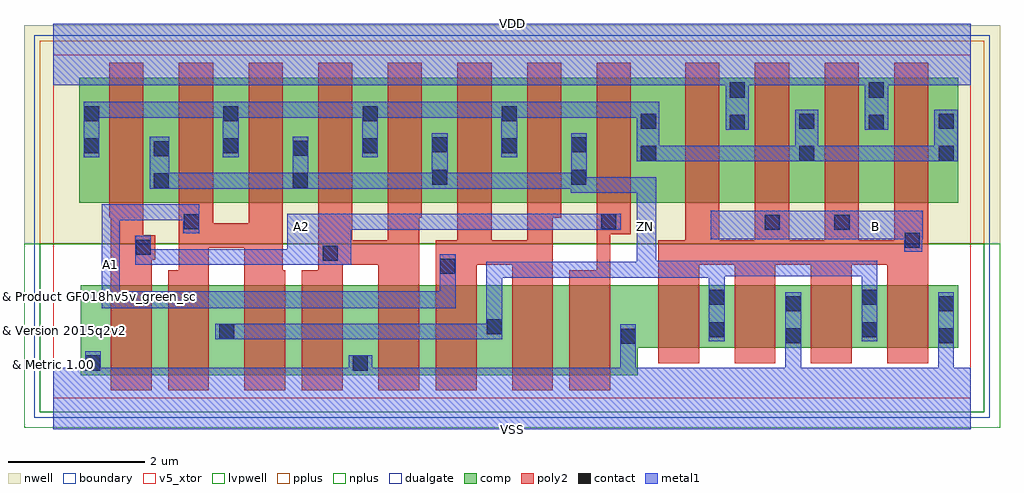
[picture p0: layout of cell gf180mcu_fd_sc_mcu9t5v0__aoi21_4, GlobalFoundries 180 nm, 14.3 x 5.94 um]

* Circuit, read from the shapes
.subckt gf180mcu_fd_sc_mcu9t5v0__aoi21_4 A1 A2 B VDD VSS ZN
XM1 n1 A2 VSS VSUBS nfet_05v0 w=1.32u l=0.6u
XM2 ZN A1 n1 VSUBS nfet_05v0 w=1.32u l=0.6u
XM3 n2 A1 ZN VSUBS nfet_05v0 w=1.32u l=0.6u
XM4 VSS A2 n2 VSUBS nfet_05v0 w=1.32u l=0.6u
XM5 n3 A2 VSS VSUBS nfet_05v0 w=1.32u l=0.6u
XM6 ZN A1 n3 VSUBS nfet_05v0 w=1.32u l=0.6u
XM7 n4 A1 ZN VSUBS nfet_05v0 w=1.32u l=0.6u
XM8 VSS A2 n4 VSUBS nfet_05v0 w=1.32u l=0.6u
XM9 ZN B VSS VSUBS nfet_05v0 w=0.92u l=0.6u m=4
XM10 ZN A2 n5 n6 pfet_05v0 w=1.83u l=0.5u m=4
XM11 n5 A1 ZN n6 pfet_05v0 w=1.83u l=0.5u m=4
XM12 VDD B n5 n6 pfet_05v0 w=1.83u l=0.5u m=4
.ends

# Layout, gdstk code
import gdstk
lib = gdstk.Library(unit=1e-6, precision=1e-09)
def R(c, l, rs):  # rectangles x0, y0, x1, y1
    for r in rs: c.add(gdstk.rectangle(r[:2], r[2:], *l))
def A(c, l, x, y, w, h, nx, ny, dx, dy):  # array of equal rectangles
    R(c, l, [(x+i*dx, y+j*dy, x+i*dx+w, y+j*dy+h) for i in range(nx) for j in range(ny)])
def P(c, l, *ps):  # polygons
    for p in ps: c.add(gdstk.Polygon(p, *l))
boundary = (0, 0)
nwell = (21, 0)
comp = (22, 0)
poly2 = (30, 0)
pplus = (31, 0)
nplus = (32, 0)
contact = (33, 0)
metal1 = (34, 0)
dualgate = (55, 0)
v5_xtor = (112, 1)
lvpwell = (204, 0)

gf180mcu_fd_sc_mcu9t5v0_ = lib.new_cell('gf180mcu_fd_sc_mcu9t5v0__aoi21_4')
R(gf180mcu_fd_sc_mcu9t5v0_, boundary, [(0,0,13.44,5.04)])
R(gf180mcu_fd_sc_mcu9t5v0_, nwell, [(-0.43,2.265,13.87,5.47)])
R(gf180mcu_fd_sc_mcu9t5v0_, comp, [(0.38,2.87,13.26,4.7)])
P(gf180mcu_fd_sc_mcu9t5v0_, comp, [(0.4,0.34),(0.4,1.66),(13.26,1.66),(13.26,0.74),(8.56,0.74),(8.56,0.34)])
P(gf180mcu_fd_sc_mcu9t5v0_, poly2, [(0.84,0.12),(0.84,2.65),(0.82,2.65),(0.82,4.92),(1.32,4.92),(1.32,2.395),(1.495,2.395),(1.495,2.035),(1.44,2.035),(1.44,0.12)],
  [(1.68,0.12),(1.68,1.88),(1.84,1.88),(1.84,4.92),(2.34,4.92),(2.34,2.57),(2.86,2.57),(2.86,4.92),(3.36,4.92),(3.36,1.88),(3.4,1.88),(3.4,0.12),(2.8,0.12),(2.8,2.21),(2.28,2.21),(2.28,0.12)],
  [(3.64,0.12),(3.64,1.88),(3.88,1.88),(3.88,4.92),(4.38,4.92),(4.38,2.32),(4.9,2.32),(4.9,4.92),(5.4,4.92),(5.4,2.65),(5.36,2.65),(5.36,0.12),(4.76,0.12),(4.76,1.96),(4.24,1.96),(4.24,0.12)],
  [(5.6,0.12),(5.6,2.32),(5.92,2.32),(5.92,4.92),(6.42,4.92),(6.42,2.32),(6.94,2.32),(6.94,4.92),(7.44,4.92),(7.44,2.65),(7.32,2.65),(7.32,0.12),(6.72,0.12),(6.72,1.96),(6.2,1.96),(6.2,0.12)],
  [(7.56,0.12),(7.56,1.88),(7.96,1.88),(7.96,4.92),(8.46,4.92),(8.46,2.41),(8.16,2.41),(8.16,0.12)],
  [(8.86,0.52),(8.86,2.32),(9.26,2.32),(9.26,4.92),(9.76,4.92),(9.76,2.32),(10.28,2.32),(10.28,4.92),(10.78,4.92),(10.78,2.32),(11.3,2.32),(11.3,4.92),(11.8,4.92),(11.8,2.32),(12.32,2.32),(12.32,4.92),(12.82,4.92),(12.82,0.52),(12.22,0.52),(12.22,1.96),(11.7,1.96),(11.7,0.52),(11.1,0.52),(11.1,1.96),(10.58,1.96),(10.58,0.52),(9.98,0.52),(9.98,1.96),(9.46,1.96),(9.46,0.52)])
R(gf180mcu_fd_sc_mcu9t5v0_, pplus, [(-0.2,2.265,13.64,5.24)])
R(gf180mcu_fd_sc_mcu9t5v0_, nplus, [(-0.2,-0.2,13.64,2.265)])
A(gf180mcu_fd_sc_mcu9t5v0_, contact, 0.45, 3.595, 0.22, 0.22, 4, 2, 2.04, 0.47)
R(gf180mcu_fd_sc_mcu9t5v0_, contact, [(0.47,0.41,0.69,0.63), (4.39,0.41,4.61,0.63), (8.31,0.805,8.53,1.025), (10.73,0.81,10.95,1.03), (12.97,0.81,13.19,1.03), (2.43,0.87,2.65,1.09), (9.61,0.9,9.83,1.12), (11.85,0.9,12.07,1.12), (6.35,0.94,6.57,1.16), (10.73,1.28,10.95,1.5), (12.97,1.28,13.19,1.5), (9.61,1.37,9.83,1.59), (11.85,1.37,12.07,1.59), (5.67,1.83,5.89,2.05), (3.95,2.02,4.17,2.24), (1.205,2.105,1.425,2.325), (12.475,2.21,12.695,2.43), (10.425,2.47,10.645,2.69), (11.445,2.475,11.665,2.695), (1.91,2.48,2.13,2.7), (8.03,2.48,8.25,2.7), (1.47,3.08,1.69,3.3), (3.51,3.085,3.73,3.305), (5.55,3.135,5.77,3.355), (7.59,3.135,7.81,3.355), (8.61,3.48,8.83,3.7), (10.93,3.48,11.15,3.7), (12.97,3.48,13.19,3.7), (1.47,3.55,1.69,3.77), (3.51,3.555,3.73,3.775), (5.55,3.605,5.77,3.825), (7.59,3.605,7.81,3.825), (9.91,3.94,10.13,4.16), (11.95,3.94,12.17,4.16), (8.61,3.95,8.83,4.17), (10.93,3.95,11.15,4.17), (12.97,3.95,13.19,4.17), (9.91,4.41,10.13,4.63), (11.95,4.41,12.17,4.63)])
P(gf180mcu_fd_sc_mcu9t5v0_, metal1, [(0.71,1.325),(0.71,2.845),(2.135,2.845),(2.135,2.42),(1.905,2.42),(1.905,2.615),(0.97,2.615),(0.97,1.57),(5.665,1.57),(5.665,2.11),(5.895,2.11),(5.895,1.325)],
  [(1.2,1.96),(1.2,2.385),(1.43,2.385),(1.43,2.19),(3.43,2.19),(3.43,2.71),(8.31,2.71),(8.31,2.475),(4.365,2.475),(4.365,1.96)],
  [(9.605,0.84),(9.605,1.77),(6.575,1.77),(6.575,0.865),(2.37,0.865),(2.37,1.095),(6.345,1.095),(6.345,2),(8.55,2),(8.55,3.015),(7.58,3.015),(7.58,3.075),(1.41,3.075),(1.41,3.835),(1.695,3.835),(1.695,3.305),(3.505,3.305),(3.505,3.835),(3.735,3.835),(3.735,3.305),(5.545,3.305),(5.545,3.885),(5.775,3.885),(5.775,3.305),(7.585,3.305),(7.585,3.885),(7.815,3.885),(7.815,3.245),(8.83,3.245),(8.83,2.02),(12.075,2.02),(12.075,0.84),(11.845,0.84),(11.845,1.79),(9.835,1.79),(9.835,0.84)],
  [(12.47,2.15),(12.47,2.33),(9.63,2.33),(9.63,2.75),(12.735,2.75),(12.735,2.33),(12.73,2.33),(12.73,2.15)],
  [(8.55,3.475),(8.55,4.115),(6.795,4.115),(6.795,3.535),(6.565,3.535),(6.565,4.115),(4.755,4.115),(4.755,3.535),(4.525,3.535),(4.525,4.115),(2.715,4.115),(2.715,3.535),(2.485,3.535),(2.485,4.115),(0.675,4.115),(0.675,3.535),(0.445,3.535),(0.445,4.345),(8.88,4.345),(8.88,3.705),(10.87,3.705),(10.87,4.23),(11.21,4.23),(11.21,3.705),(12.91,3.705),(12.91,4.23),(13.25,4.23),(13.25,3.475)],
  [(0,-0.45),(0,0.45),(0.465,0.45),(0.465,0.69),(0.695,0.69),(0.695,0.45),(4.33,0.45),(4.33,0.635),(4.67,0.635),(4.67,0.45),(8.305,0.45),(8.305,1.085),(8.535,1.085),(8.535,0.45),(10.725,0.45),(10.725,1.56),(10.955,1.56),(10.955,0.45),(12.965,0.45),(12.965,1.56),(13.195,1.56),(13.195,0.45),(13.44,0.45),(13.44,-0.45)],
  [(9.85,3.935),(9.85,4.59),(0,4.59),(0,5.49),(13.44,5.49),(13.44,4.59),(12.23,4.59),(12.23,3.935),(11.89,3.935),(11.89,4.59),(10.19,4.59),(10.19,3.935)])
R(gf180mcu_fd_sc_mcu9t5v0_, dualgate, [(-0.28,-0.28,13.72,5.32)])
R(gf180mcu_fd_sc_mcu9t5v0_, v5_xtor, [(0,0,13.44,5.04)])
R(gf180mcu_fd_sc_mcu9t5v0_, lvpwell, [(-0.43,-0.43,13.87,2.265)])
gf180mcu_fd_sc_mcu9t5v0_.add(gdstk.Label('A1', (0.84,1.96), layer=34, texttype=10))
gf180mcu_fd_sc_mcu9t5v0_.add(gdstk.Label('A2', (3.64,2.52), layer=34, texttype=10))
gf180mcu_fd_sc_mcu9t5v0_.add(gdstk.Label('B', (12.04,2.52), layer=34, texttype=10))
gf180mcu_fd_sc_mcu9t5v0_.add(gdstk.Label('VDD', (6.72,5.49), layer=34, texttype=10))
gf180mcu_fd_sc_mcu9t5v0_.add(gdstk.Label('VSS', (6.72,-0.45), layer=34, texttype=10))
gf180mcu_fd_sc_mcu9t5v0_.add(gdstk.Label('ZN', (8.68,2.52), layer=34, texttype=10))
gf180mcu_fd_sc_mcu9t5v0_.add(gdstk.Label('& Vendor GLOBALFOUNDRIES', (0,2), layer=63, texttype=63))
gf180mcu_fd_sc_mcu9t5v0_.add(gdstk.Label('& Product GF018hv5v_green_sc9', (0,1.5), layer=63, texttype=63))
gf180mcu_fd_sc_mcu9t5v0_.add(gdstk.Label('& Version 2015q2v2', (0,1), layer=63, texttype=63))
gf180mcu_fd_sc_mcu9t5v0_.add(gdstk.Label('& Metric 1.00', (0,0.5), layer=63, texttype=63))

lib.write_gds('gf180mcu_fd_sc_mcu9t5v0__aoi21_4.gds')
